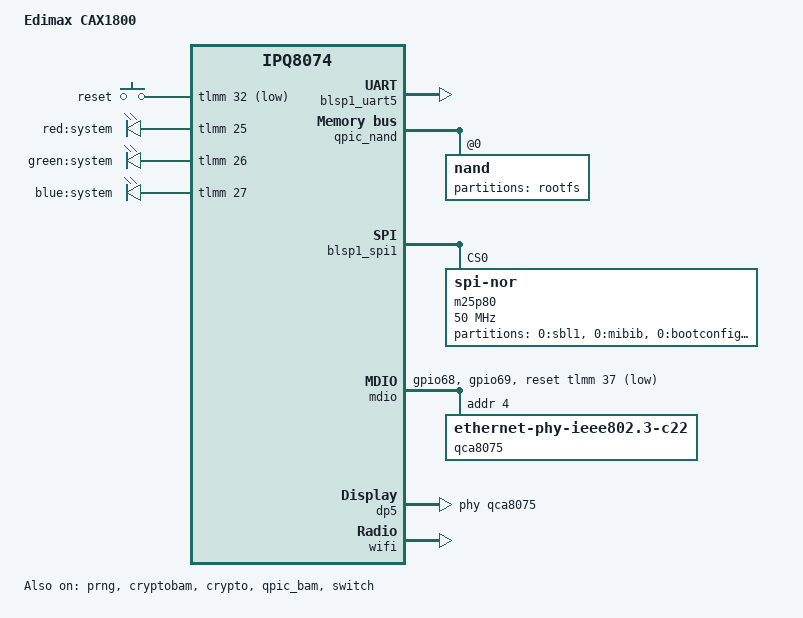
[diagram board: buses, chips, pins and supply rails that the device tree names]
// SPDX-License-Identifier: GPL-2.0-or-later OR MIT
/* Copyright (c) 2021, Dirk Buchwalder <buchwalder@posteo.de> */

/dts-v1/;

#include "ipq8074-512m.dtsi"
#include "ipq8074-ac-cpu.dtsi"
#include "ipq8074-ess.dtsi"
#include "ipq8074-nss.dtsi"
#include <dt-bindings/gpio/gpio.h>
#include <dt-bindings/input/input.h>

/ {
	model = "Edimax CAX1800";
	compatible = "edimax,cax1800", "qcom,ipq8074";

	aliases {
		serial0 = &blsp1_uart5;
		led-boot = &led_system_red;
		led-failsafe = &led_system_red;
		led-running = &led_system_green;
		led-upgrade = &led_system_red;
		/* Aliases as required by u-boot to patch MAC addresses */
		ethernet0 = &dp5;
		label-mac-device = &dp5;
	};

	chosen {
		stdout-path = "serial0:115200n8";
		bootargs-append = " root=/dev/ubiblock0_1";
	};

	keys {
		compatible = "gpio-keys";

		reset {
			label = "reset";
			gpios = <&tlmm 32 GPIO_ACTIVE_LOW>;
			linux,code = <KEY_RESTART>;
		};
	};

	leds {
		compatible = "gpio-leds";

		led_system_red: system-red {
			label = "red:system";
			gpios = <&tlmm 25 GPIO_ACTIVE_HIGH>;
		};

		led_system_green: system-green {
			label = "green:system";
			gpios = <&tlmm 26 GPIO_ACTIVE_HIGH>;
		};

		led_system_blue: system-blue {
			label = "blue:system";
			gpios = <&tlmm 27 GPIO_ACTIVE_HIGH>;
		};
	};
};

&tlmm {
	mdio_pins: mdio-pins {
		mdc {
			pins = "gpio68";
			function = "mdc";
			drive-strength = <8>;
			bias-pull-up;
		};

		mdio {
			pins = "gpio69";
			function = "mdio";
			drive-strength = <8>;
			bias-pull-up;
		};
	};
};

&blsp1_uart5 {
	status = "okay";
};

&prng {
	status = "okay";
};

&cryptobam {
	status = "okay";
};

&crypto {
	status = "okay";
};

&qpic_bam {
	status = "okay";
};

&qpic_nand {
	status = "okay";

	nand@0 {
		reg = <0>;
		nand-ecc-strength = <4>;
		nand-ecc-step-size = <512>;
		nand-bus-width = <8>;

		partitions {
			compatible = "fixed-partitions";
			#address-cells = <1>;
			#size-cells = <1>;

			partition@0 {
				label = "rootfs";
				reg = <0x0000000 0x3400000>;
			};
		};
	};
};

&blsp1_spi1 {
	pinctrl-0 = <&spi_0_pins>;
	pinctrl-names = "default";
	cs-select = <0>;
	status = "okay";

	m25p80@0 {
		#address-cells = <1>;
		#size-cells = <1>;
		reg = <0>;
		compatible = "jedec,spi-nor";
		spi-max-frequency = <50000000>;
		use-default-sizes;

		partitions {
			compatible = "fixed-partitions";
			#address-cells = <1>;
			#size-cells = <1>;

			partition@0 {
				label = "0:sbl1";
				reg = <0x0 0x50000>;
				read-only;
			};

			partition@50000 {
				label = "0:mibib";
				reg = <0x50000 0x10000>;
				read-only;
			};

			partition@60000 {
				label = "0:bootconfig";
				reg = <0x60000 0x20000>;
				read-only;
			};

			partition@80000 {
				label = "0:bootconfig1";
				reg = <0x80000 0x20000>;
				read-only;
			};

			partition@a0000 {
				label = "0:qsee";
				reg = <0xa0000 0x180000>;
				read-only;
			};

			partition@220000 {
				label = "0:qsee_1";
				reg = <0x220000 0x180000>;
				read-only;
			};

			partition@3a0000 {
				label = "0:devcfg";
				reg = <0x3a0000 0x10000>;
				read-only;
			};

			partition@3b0000 {
				label = "0:devcfg_1";
				reg = <0x3b0000 0x10000>;
				read-only;
			};

			partition@3c0000 {
				label = "0:apdp";
				reg = <0x3c0000 0x10000>;
				read-only;
			};

			partition@3d0000 {
				label = "0:apdp_1";
				reg = <0x3d0000 0x10000>;
				read-only;
			};

			partition@3e0000 {
				label = "0:rpm";
				reg = <0x3e0000 0x40000>;
				read-only;
			};

			partition@420000 {
				label = "0:rpm_1";
				reg = <0x420000 0x40000>;
				read-only;
			};

			partition@460000 {
				label = "0:cdt";
				reg = <0x460000 0x10000>;
				read-only;
			};

			partition@470000 {
				label = "0:cdt_1";
				reg = <0x470000 0x10000>;
				read-only;
			};

			partition@480000 {
				label = "0:appsblenv";
				reg = <0x480000 0x10000>;
			};

			partition@490000 {
				label = "0:appsbl";
				reg = <0x490000 0xa0000>;
				read-only;
			};

			partition@530000 {
				label = "0:appsbl_1";
				reg = <0x530000 0xa0000>;
				read-only;
			};

			partition@5d0000 {
				label = "0:art";
				reg = <0x5d0000 0x40000>;
				read-only;
			};

			partition@610000 {
				label = "0:ethphyfw";
				reg = <0x610000 0x80000>;
				read-only;
			};
		};
	};
};

&mdio {
	status = "okay";

	pinctrl-0 = <&mdio_pins>;
	pinctrl-names = "default";

	reset-gpios = <&tlmm 37 GPIO_ACTIVE_LOW>;

	qca8075: ethernet-phy@4 {
		compatible = "ethernet-phy-ieee802.3-c22";
		reg = <4>;
	};
};

&switch {
	status = "okay";

	switch_cpu_bmp = <0x1>;  /* cpu port bitmap */
	switch_lan_bmp = <0x1e>; /* lan port bitmap */
	switch_wan_bmp = <0x20>; /* wan port bitmap */
	switch_mac_mode = <0x0>; /* mac mode for uniphy instance0*/
	switch_mac_mode1 = <0xff>; /* mac mode for uniphy instance1*/
	switch_mac_mode2 = <0xff>; /* mac mode for uniphy instance2*/
	bm_tick_mode = <0>; /* bm tick mode */
	tm_tick_mode = <0>; /* tm tick mode */

	qcom,port_phyinfo {
		port@0 {
			port_id = <1>;
			phy_address = <0>;
		};
		port@1 {
			port_id = <2>;
			phy_address = <1>;
		};
		port@2 {
			port_id = <3>;
			phy_address = <2>;
		};
		port@3 {
			port_id = <4>;
			phy_address = <3>;
		};
		port@4 {
			port_id = <5>;
			phy_address = <4>;
		};
	};
};

&edma {
	status = "okay";
};

&dp5 {
	status = "okay";
	phy-handle = <&qca8075>;
	label = "lan";
};

&wifi {
	status = "okay";

	qcom,ath11k-calibration-variant = "Edimax-CAX1800";
	qcom,ath11k-fw-memory-mode = <1>;
};
